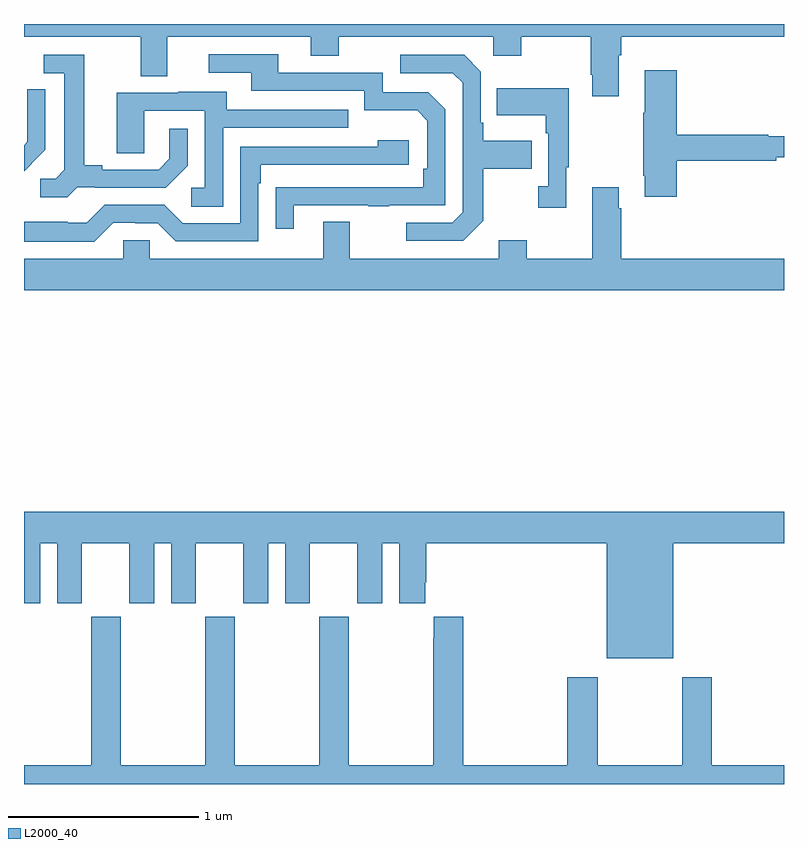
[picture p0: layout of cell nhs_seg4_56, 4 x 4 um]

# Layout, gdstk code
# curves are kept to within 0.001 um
import gdstk
lib = gdstk.Library(unit=1e-6, precision=1e-09)
def P(c, l, *ps):  # polygons
    for p in ps: c.add(gdstk.Polygon(p, *l))
L2000_40 = (2000, 40)

nhs_seg4_56 = lib.new_cell('nhs_seg4_56')
P(nhs_seg4_56, L2000_40, [(116.131,784.736),(116.144,784.736),(116.144,784.832),(117,784.832),(117,784.9),(113,784.9),(113,784.832),(113.615,784.832),(113.615,784.624),(113.755,784.624),(113.755,784.832),(114.509,784.832),(114.509,784.733),(114.657,784.733),(114.657,784.832),(115.47,784.832),(115.47,784.733),(115.617,784.733),(115.617,784.832),(115.984,784.832),(115.984,784.633),(115.991,784.633),(115.991,784.521),(116.131,784.521)],
  [(114.421,783.945),(114.811,783.945),(114.811,783.94),(114.923,783.94),(114.923,783.945),(115.218,783.945),(115.218,784.452),(115.128,784.542),(114.888,784.542),(114.888,784.644),(114.337,784.644),(114.337,784.74),(113.973,784.74),(113.973,784.644),(114.197,784.644),(114.197,784.548),(114.792,784.548),(114.792,784.445),(115.069,784.445),(115.122,784.392),(115.122,784.138),(115.102,784.138),(115.102,784.041),(114.325,784.04),(114.325,783.822),(114.421,783.822)],
  [(115.417,783.865),(115.417,784.138),(115.673,784.138),(115.673,784.285),(115.417,784.285),(115.417,784.381),(115.404,784.381),(115.404,784.65),(115.317,784.737),(114.981,784.737),(114.981,784.641),(115.257,784.641),(115.308,784.59),(115.308,783.909),(115.254,783.855),(115.011,783.855),(115.011,783.759),(115.311,783.759)],
  [(113.28,784.041),(113.374,784.041),(113.374,784.038),(113.746,784.038),(113.862,784.154),(113.862,784.348),(113.765,784.348),(113.765,784.191),(113.708,784.134),(113.413,784.134),(113.413,784.157),(113.317,784.157),(113.317,784.737),(113.103,784.737),(113.103,784.641),(113.213,784.641),(113.213,784.133),(113.166,784.086),(113.085,784.086),(113.085,783.989),(113.228,783.989)],
  [(116.435,784.18),(116.96,784.18),(116.96,784.199),(117,784.199),(117,784.309),(116.918,784.309),(116.918,784.316),(116.435,784.316),(116.435,784.657),(116.267,784.657),(116.267,784.433),(116.26,784.433),(116.26,784.102),(116.267,784.102),(116.267,783.99),(116.435,783.99)],
  [(115.855,784.145),(115.867,784.145),(115.867,784.561),(115.489,784.561),(115.489,784.421),(115.746,784.421),(115.746,784.325),(115.758,784.325),(115.758,784.046),(115.707,784.046),(115.707,783.933),(115.855,783.933)],
  [(113.04,784.164),(113.039,784.165),(113.112,784.238),(113.112,784.556),(113.016,784.556),(113.016,784.402),(113.018,784.402),(113.018,784.28),(113,784.262),(113,784.124)],
  [(114.048,784.353),(114.707,784.353),(114.707,784.449),(114.067,784.449),(114.067,784.543),(113.813,784.543),(113.813,784.539),(113.489,784.539),(113.489,784.219),(113.634,784.219),(113.634,784.443),(113.952,784.443),(113.952,784.038),(113.88,784.038),(113.88,783.937),(114.048,783.937)],
  [(113.469,783.855),(113.585,783.855),(113.585,783.852),(113.703,783.852),(113.799,783.756),(114.234,783.756),(114.234,784.061),(114.247,784.061),(114.247,784.158),(115.024,784.158),(115.024,784.288),(114.863,784.288),(114.863,784.254),(114.138,784.254),(114.138,783.852),(113.835,783.852),(113.739,783.948),(113.424,783.948),(113.331,783.855),(113.231,783.855),(113.231,783.859),(113,783.859),(113,783.755),(113.369,783.755)],
  [(117,783.664),(116.144,783.664),(116.144,783.929),(116.131,783.929),(116.131,784.042),(115.991,784.042),(115.991,783.664),(115.647,783.664),(115.647,783.763),(115.499,783.763),(115.499,783.664),(114.715,783.664),(114.715,783.859),(114.575,783.859),(114.575,783.664),(113.661,783.664),(113.661,783.762),(113.523,783.762),(113.523,783.664),(113,783.664),(113,783.5),(117,783.5)],
  [(116.416,782.168),(117,782.168),(117,782.332),(113,782.332),(113,781.851),(113.086,781.851),(113.086,782.168),(113.174,782.168),(113.174,781.851),(113.305,781.851),(113.305,782.168),(113.555,782.168),(113.555,781.851),(113.686,781.851),(113.686,782.168),(113.774,782.168),(113.774,781.851),(113.905,781.851),(113.905,782.168),(114.155,782.168),(114.155,781.851),(114.286,781.851),(114.286,782.168),(114.374,782.168),(114.374,781.851),(114.505,781.851),(114.505,782.168),(114.755,782.168),(114.755,781.851),(114.886,781.851),(114.886,782.168),(114.974,782.168),(114.974,781.851),(115.111,781.851),(115.111,781.963),(115.118,781.963),(115.118,782.168),(116.066,782.168),(116.066,781.562),(116.416,781.562)],
  [(117,781),(116.619,781),(116.619,781.462),(116.464,781.462),(116.464,781),(116.019,781),(116.019,781.462),(115.859,781.462),(115.859,781),(115.313,781),(115.313,781.78),(115.157,781.78),(115.157,781.667),(115.153,781.667),(115.153,781),(114.708,781),(114.708,781.78),(114.553,781.78),(114.553,781),(114.108,781),(114.108,781.78),(113.953,781.78),(113.953,781),(113.508,781),(113.508,781.78),(113.353,781.78),(113.353,781),(113,781),(113,780.9),(117,780.9)])

lib.write_gds('nhs_seg4_56.gds')
